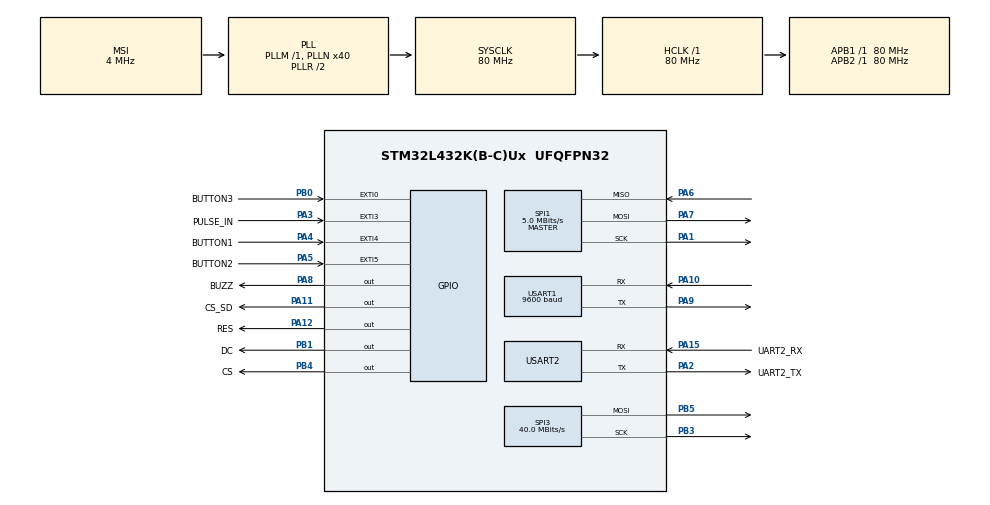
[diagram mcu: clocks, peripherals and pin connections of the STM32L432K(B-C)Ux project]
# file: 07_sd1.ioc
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FATFS._MAX_SS=4096
FATFS._USE_LFN=1
Mcu.Family=STM32L4
Mcu.Name=STM32L432K(B-C)Ux
Mcu.Package=UFQFPN32
NVIC.EXTI0_IRQn=true\:0\:0\:false\:false\:true\:true
NVIC.EXTI3_IRQn=true\:0\:0\:false\:false\:true\:true
NVIC.EXTI4_IRQn=true\:0\:0\:false\:false\:true\:true
NVIC.EXTI9_5_IRQn=true\:0\:0\:false\:false\:true\:true
NVIC.PriorityGroup=NVIC_PRIORITYGROUP_4
NVIC.TIM1_UP_TIM16_IRQn=true\:0\:0\:false\:false\:true\:true
NVIC.TIM6_DAC_IRQn=true\:0\:0\:false\:false\:true\:true
NVIC.TIM7_IRQn=true\:0\:0\:false\:false\:true\:true
NVIC.USART1_IRQn=true\:0\:0\:false\:false\:true\:true
NVIC.USART2_IRQn=true\:0\:0\:false\:false\:true\:true
PA0.GPIO_Label=MCO [High speed clock in]
PA0.Mode=HSE-External-Clock-Source-for-LittleOrca
PA0.Signal=RCC_CK_IN
PA1.Mode=Full_Duplex_Master
PA1.Signal=SPI1_SCK
PA10.Mode=Asynchronous
PA10.Signal=USART1_RX
PA11.GPIO_Label=CS_SD
PA11.GPIO_Speed=GPIO_SPEED_FREQ_HIGH
PA11.Signal=GPIO_Output
PA12.GPIO_Label=RES
PA12.Signal=GPIO_Output
PA13\ (JTMS-SWDIO).GPIO_Label=SWDIO
PA13\ (JTMS-SWDIO).Mode=Serial_Wire
PA13\ (JTMS-SWDIO).Signal=SYS_JTMS-SWDIO
PA14\ (JTCK-SWCLK).GPIO_Label=SWCLK
PA14\ (JTCK-SWCLK).Mode=Serial_Wire
PA14\ (JTCK-SWCLK).Signal=SYS_JTCK-SWCLK
PA15\ (JTDI).GPIO_Label=UART2_RX
PA15\ (JTDI).Mode=Asynchronous
PA15\ (JTDI).Signal=USART2_RX
PA2.GPIO_Label=UART2_TX
PA2.Mode=Asynchronous
PA2.Signal=USART2_TX
PA3.GPIO_Label=PULSE_IN
PA3.Signal=GPXTI3
PA4.GPIO_Label=BUTTON1
PA4.Signal=GPXTI4
PA5.GPIO_Label=BUTTON2
PA5.Signal=GPXTI5
PA6.GPIO_Mode=GPIO_MODE_AF_PP
PA6.Mode=Full_Duplex_Master
PA6.Signal=SPI1_MISO
PA7.Mode=Full_Duplex_Master
PA7.Signal=SPI1_MOSI
PA8.GPIO_Label=BUZZ
PA8.Signal=GPIO_Output
PA9.Mode=Asynchronous
PA9.Signal=USART1_TX
PB0.GPIO_Label=BUTTON3
PB0.Signal=GPXTI0
PB1.GPIO_Label=DC
PB1.Signal=GPIO_Output
PB3\ (JTDO-TRACESWO).Mode=TX_Only_Simplex_Unidirect_Master
PB3\ (JTDO-TRACESWO).Signal=SPI3_SCK
PB4\ (NJTRST).GPIO_Label=CS
PB4\ (NJTRST).Signal=GPIO_Output
PB5.Mode=TX_Only_Simplex_Unidirect_Master
PB5.Signal=SPI3_MOSI
PC14-OSC32_IN\ (PC14).Mode=LSE-External-Oscillator
PC14-OSC32_IN\ (PC14).Signal=RCC_OSC32_IN
PC15-OSC32_OUT\ (PC15).Mode=LSE-External-Oscillator
PC15-OSC32_OUT\ (PC15).Signal=RCC_OSC32_OUT
ProjectManager.HeapSize=0x200
ProjectManager.StackSize=0x400
ProjectManager.TargetToolchain=MDK-ARM V5
RCC.ADCFreq_Value=32000000
RCC.AHBFreq_Value=80000000
RCC.APB1Freq_Value=80000000
RCC.APB1TimFreq_Value=80000000
RCC.APB2Freq_Value=80000000
RCC.APB2TimFreq_Value=80000000
RCC.CortexFreq_Value=80000000
RCC.HCLKFreq_Value=80000000
RCC.HSE_VALUE=8000000
RCC.HSI16_VALUE=16000000
RCC.HSI48_VALUE=48000000
RCC.HSI_VALUE=16000000
RCC.MSI_VALUE=4000000
RCC.PLLMUL=RCC_PLLMUL_4
RCC.PLLN=40
RCC.PLLSAI1N=16
RCC.SYSCLKFreq_VALUE=80000000
RCC.SYSCLKSource=RCC_SYSCLKSOURCE_PLLCLK
RCC.USBFreq_Value=32000000
RCC.VCOOutputFreq_Value=160000000
SPI1.BaudRatePrescaler=SPI_BAUDRATEPRESCALER_16
SPI1.CalculateBaudRate=5.0 MBits/s
SPI1.DataSize=SPI_DATASIZE_8BIT
SPI1.Direction=SPI_DIRECTION_2LINES
SPI1.Mode=SPI_MODE_MASTER
SPI1.VirtualType=VM_MASTER
SPI3.CLKPhase=SPI_PHASE_2EDGE
SPI3.CLKPolarity=SPI_POLARITY_HIGH
SPI3.CalculateBaudRate=40.0 MBits/s
SPI3.DataSize=SPI_DATASIZE_8BIT
SPI3.Direction=SPI_DIRECTION_2LINES
SPI3.Mode=SPI_MODE_MASTER
SPI3.VirtualType=VM_MASTER
TIM16.Period=799
TIM16.Prescaler=999
TIM6.Period=959
TIM6.Prescaler=999
TIM7.Period=79
TIM7.Prescaler=999
USART1.BaudRate=9600
USART1.VirtualMode-Asynchronous=VM_ASYNC
USART2.VirtualMode-Asynchronous=VM_ASYNC
VP_FATFS_VS_Generic.Mode=User_defined
VP_TIM16_VS_ClockSourceINT.Mode=Enable_Timer
VP_TIM6_VS_ClockSourceINT.Mode=Enable_Timer
VP_TIM7_VS_ClockSourceINT.Mode=Enable_Timer
board=NUCLEO-L432KC

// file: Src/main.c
/**
  ******************************************************************************
  * @file           : main.c
  * @brief          : Main program body
  ******************************************************************************
  * This notice applies to any and all portions of this file
  * that are not between comment pairs USER CODE BEGIN and
  * USER CODE END. Other portions of this file, whether
  * inserted by the user or by software development tools
  * are owned by their respective copyright owners.
  *
  * Copyright (c) 2019 STMicroelectronics International N.V.
  * All rights reserved.
  *
  * Redistribution and use in source and binary forms, with or without
  * modification, are permitted, provided that the following conditions are met:
  *
  * 1. Redistribution of source code must retain the above copyright notice,
  *    this list of conditions and the following disclaimer.
  * 2. Redistributions in binary form must reproduce the above copyright notice,
  *    this list of conditions and the following disclaimer in the documentation
  *    and/or other materials provided with the distribution.
  * 3. Neither the name of STMicroelectronics nor the names of other
  *    contributors to this software may be used to endorse or promote products
  *    derived from this software without specific written permission.
  * 4. This software, including modifications and/or derivative works of this
  *    software, must execute solely and exclusively on microcontroller or
  *    microprocessor devices manufactured by or for STMicroelectronics.
  * 5. Redistribution and use of this software other than as permitted under
  *    this license is void and will automatically terminate your rights under
  *    this license.
  *
  * THIS SOFTWARE IS PROVIDED BY STMICROELECTRONICS AND CONTRIBUTORS "AS IS"
  * AND ANY EXPRESS, IMPLIED OR STATUTORY WARRANTIES, INCLUDING, BUT NOT
  * LIMITED TO, THE IMPLIED WARRANTIES OF MERCHANTABILITY, FITNESS FOR A
  * PARTICULAR PURPOSE AND NON-INFRINGEMENT OF THIRD PARTY INTELLECTUAL PROPERTY
  * RIGHTS ARE DISCLAIMED TO THE FULLEST EXTENT PERMITTED BY LAW. IN NO EVENT
  * SHALL STMICROELECTRONICS OR CONTRIBUTORS BE LIABLE FOR ANY DIRECT, INDIRECT,
  * INCIDENTAL, SPECIAL, EXEMPLARY, OR CONSEQUENTIAL DAMAGES (INCLUDING, BUT NOT
  * LIMITED TO, PROCUREMENT OF SUBSTITUTE GOODS OR SERVICES; LOSS OF USE, DATA,
  * OR PROFITS; OR BUSINESS INTERRUPTION) HOWEVER CAUSED AND ON ANY THEORY OF
  * LIABILITY, WHETHER IN CONTRACT, STRICT LIABILITY, OR TORT (INCLUDING
  * NEGLIGENCE OR OTHERWISE) ARISING IN ANY WAY OUT OF THE USE OF THIS SOFTWARE,
  * EVEN IF ADVISED OF THE POSSIBILITY OF SUCH DAMAGE.
  *
  ******************************************************************************
  */
#include "main.h"
#include "stm32l4xx_hal.h"
#include "fatfs.h"

/* USER CODE BEGIN Includes */
#include "sd.h"
#include "ff.h"
#include "gps.h"
#include "funkcje_wlasne.h"
#include "SSD1331.h"

/* USER CODE END Includes */

SPI_HandleTypeDef hspi1;
SPI_HandleTypeDef hspi3;

TIM_HandleTypeDef htim6;
TIM_HandleTypeDef htim7;
TIM_HandleTypeDef htim16;

UART_HandleTypeDef huart1;
UART_HandleTypeDef huart2;

/* USER CODE BEGIN PV */
/* Private variables ---------------------------------------------------------*/
volatile uint16_t Timer1=0;
uint8_t sect[512];
extern char str1[60];
uint32_t byteswritten,bytesread;
uint8_t result;
char USER_Path[4]; /* logical drive path */
FATFS SDFatFs;
FATFS *fs;
FIL MyFile;

uint16_t cnt_pulse = 0; // inkrementowany z kazdym przerwaniem od odbiornika pulsu
uint16_t licznik1 = 0; // do okreslenia przerwan do pulsu
uint16_t licznik2 = 0;
uint16_t aktualny_puls = 0;
uint16_t puls_poprzedni = 0;
uint8_t flaga_puls = 0;
uint8_t flaga_koniec_ekr_start = 0;
uint16_t puls_koncowy = 0;
uint16_t puls_stary = 0;
uint16_t puls_sredni_trip = 0;
uint16_t puls_max = 0;

uint16_t przebyty_dystans = 0; // w metrach
uint16_t predkosc_max = 0;

uint8_t przycisk1 = 0;
uint8_t przycisk2 = 0;
uint8_t przycisk3 = 0;
uint8_t flaga_konca = 0;
uint8_t flaga_zapisu = 0;
uint8_t flaga_temp = 0;

uint16_t czas_ms = 0;
uint16_t czas_s = 0;
uint16_t czas_min = 0;
uint16_t flaga_stoper = 0;

uint16_t ilosc_satelit = 0;

uint8_t liczba_jed = 0;
uint8_t liczba_dzies = 0;
uint8_t liczba_setek = 0;

uint16_t PomiarADC;
float Temperature;
float Vsense;

const float V25 = 0.76; // [Volts]
const float Avg_slope = 0.0025; //[Volts/degree]
const float SupplyVoltage = 3.0; // [Volts]
const float ADCResolution = 4096.0;

		FRESULT res; //????????? ??????????

//================== .TXT DO SD======================
char wtext[100]="sek:    \r\nmin:    \r\nodl:    \r\nmxv:    \r\npls:    \r\nplm:    \r\n";
//================== .TXT DO SD======================

//char buffer1[512] ="To jest tekst testowy sluzacy sprawdzeniu karty,.... sporzadzony na sluzbie";
/* USER CODE END PV */

void SystemClock_Config(void);
static void MX_GPIO_Init(void);
static void MX_USART2_UART_Init(void);
static void MX_SPI1_Init(void);
static void MX_TIM6_Init(void);
static void MX_USART1_UART_Init(void);
static void MX_TIM7_Init(void);
static void MX_TIM16_Init(void);
static void MX_SPI3_Init(void);

/* USER CODE BEGIN PFP */
/* Private function prototypes -----------------------------------------------*/
void HAL_GPIO_EXTI_Callback(uint16_t GPIO_Pin);  // PRZERWANIA ZEWNETRZNE
void HAL_TIM_PeriodElapsedCallback(TIM_HandleTypeDef *htim); // PRZERWANIA OD TIMerow

/* USER CODE END PFP */

/* USER CODE BEGIN 0 */
//===================== G P S ===================================#
			volatile struct gps_state gps_handle;  //PRZECHOWUJE BUFORY, LICZNIKI ZNAKOW + AKTUALNE DANE Z GPS
			volatile uint8_t recv_char;

			void HAL_UART_RxCpltCallback(UART_HandleTypeDef * uart) { // FUNKCJA OBSLUGI PRZERWANIA OD UART - GPS
				if (uart == &huart1) {
					gps_recv_char(&gps_handle, recv_char);           // ZAPIS KOLEJNYCH ZNAKOW DO BUFORA BIBLIOTEKI GPS
																													 // OD "$" DO "\n" LUB "\r", INKREMENTUJE writer_position
					HAL_UART_Receive_IT(&huart1, &recv_char, 1);
					}
				}
//===================== G P S ===================================#
/* USER CODE END 0 */

int main(void)
{

  /* MCU Configuration----------------------------------------------------------*/

  /* Reset of all peripherals, Initializes the Flash interface and the Systick. */
  HAL_Init();

  /* Configure the system clock */
  SystemClock_Config();

  /* Initialize all configured peripherals */
  MX_GPIO_Init();
  MX_USART2_UART_Init();
  MX_FATFS_Init();
  MX_SPI1_Init();
  MX_TIM6_Init();
  MX_USART1_UART_Init();
  MX_TIM7_Init();
  MX_TIM16_Init();
  MX_SPI3_Init();
  /* USER CODE BEGIN 2 */
HAL_TIM_Base_Start_IT(&htim6);
HAL_TIM_Base_Start_IT(&htim16);
HAL_TIM_Base_Start_IT(&htim7);

ssd1331_init();

				disk_initialize(SDFatFs.drv);

									if(f_mount(&SDFatFs,(TCHAR const*)USER_Path,0)!=FR_OK)
									{
										Error_Handler();
										flaga_temp = 1;
									}
									else
									{
										flaga_temp = 3;

//===================== G P S ===================================#
			gps_handle = gps_init(&huart1);
			HAL_UART_Receive_IT(&huart1, &recv_char, 1); //  WYWOLANIE PRZERWANIA OD UART - GPS,
																									//po 1 znaku przekazujemy do recv_char
			char output_buffer[100];
			for (uint8_t i = 0; i < 100; i++)
				output_buffer[i] = '\0';
//===================== G P S ===================================#

oled_start(&flaga_koniec_ekr_start);
oled_ekr_glowny(czas_s, czas_min, puls_koncowy, ilosc_satelit);
  /* USER CODE END 2 */

  /* Infinite loop */
  while (1)
  {

  }

}

void SystemClock_Config(void)
{

  RCC_OscInitTypeDef RCC_OscInitStruct;
  RCC_ClkInitTypeDef RCC_ClkInitStruct;
  RCC_PeriphCLKInitTypeDef PeriphClkInit;

    /**Configure LSE Drive Capability
    */
  HAL_PWR_EnableBkUpAccess();

  __HAL_RCC_LSEDRIVE_CONFIG(RCC_LSEDRIVE_LOW);

    /**Initializes the CPU, AHB and APB busses clocks
    */
  RCC_OscInitStruct.OscillatorType = RCC_OSCILLATORTYPE_LSE|RCC_OSCILLATORTYPE_MSI;
  RCC_OscInitStruct.LSEState = RCC_LSE_ON;
  RCC_OscInitStruct.MSIState = RCC_MSI_ON;
  RCC_OscInitStruct.MSICalibrationValue = 0;
  RCC_OscInitStruct.MSIClockRange = RCC_MSIRANGE_6;
  RCC_OscInitStruct.PLL.PLLState = RCC_PLL_ON;
  RCC_OscInitStruct.PLL.PLLSource = RCC_PLLSOURCE_MSI;
  RCC_OscInitStruct.PLL.PLLM = 1;
  RCC_OscInitStruct.PLL.PLLN = 40;
  RCC_OscInitStruct.PLL.PLLP = RCC_PLLP_DIV7;
  RCC_OscInitStruct.PLL.PLLQ = RCC_PLLQ_DIV2;
  RCC_OscInitStruct.PLL.PLLR = RCC_PLLR_DIV2;
  if (HAL_RCC_OscConfig(&RCC_OscInitStruct) != HAL_OK)
  {
    _Error_Handler(__FILE__, __LINE__);
  }

    /**Initializes the CPU, AHB and APB busses clocks
    */
  RCC_ClkInitStruct.ClockType = RCC_CLOCKTYPE_HCLK|RCC_CLOCKTYPE_SYSCLK
                              |RCC_CLOCKTYPE_PCLK1|RCC_CLOCKTYPE_PCLK2;
  RCC_ClkInitStruct.SYSCLKSource = RCC_SYSCLKSOURCE_PLLCLK;
  RCC_ClkInitStruct.AHBCLKDivider = RCC_SYSCLK_DIV1;
  RCC_ClkInitStruct.APB1CLKDivider = RCC_HCLK_DIV1;
  RCC_ClkInitStruct.APB2CLKDivider = RCC_HCLK_DIV1;

  if (HAL_RCC_ClockConfig(&RCC_ClkInitStruct, FLASH_LATENCY_4) != HAL_OK)
  {
    _Error_Handler(__FILE__, __LINE__);
  }

  PeriphClkInit.PeriphClockSelection = RCC_PERIPHCLK_USART1|RCC_PERIPHCLK_USART2;
  PeriphClkInit.Usart1ClockSelection = RCC_USART1CLKSOURCE_PCLK2;
  PeriphClkInit.Usart2ClockSelection = RCC_USART2CLKSOURCE_PCLK1;
  if (HAL_RCCEx_PeriphCLKConfig(&PeriphClkInit) != HAL_OK)
  {
    _Error_Handler(__FILE__, __LINE__);
  }

    /**Configure the main internal regulator output voltage
    */
  if (HAL_PWREx_ControlVoltageScaling(PWR_REGULATOR_VOLTAGE_SCALE1) != HAL_OK)
  {
    _Error_Handler(__FILE__, __LINE__);
  }

    /**Configure the Systick interrupt time
    */
  HAL_SYSTICK_Config(HAL_RCC_GetHCLKFreq()/1000);

    /**Configure the Systick
    */
  HAL_SYSTICK_CLKSourceConfig(SYSTICK_CLKSOURCE_HCLK);

    /**Enable MSI Auto calibration
    */
  HAL_RCCEx_EnableMSIPLLMode();

  /* SysTick_IRQn interrupt configuration */
  HAL_NVIC_SetPriority(SysTick_IRQn, 0, 0);
}

/* SPI1 init function */
static void MX_SPI1_Init(void)
{

  /* SPI1 parameter configuration*/
  hspi1.Instance = SPI1;
  hspi1.Init.Mode = SPI_MODE_MASTER;
  hspi1.Init.Direction = SPI_DIRECTION_2LINES;
  hspi1.Init.DataSize = SPI_DATASIZE_8BIT;
  hspi1.Init.CLKPolarity = SPI_POLARITY_LOW;
  hspi1.Init.CLKPhase = SPI_PHASE_1EDGE;
  hspi1.Init.NSS = SPI_NSS_SOFT;
  hspi1.Init.BaudRatePrescaler = SPI_BAUDRATEPRESCALER_16;
  hspi1.Init.FirstBit = SPI_FIRSTBIT_MSB;
  hspi1.Init.TIMode = SPI_TIMODE_DISABLE;
  hspi1.Init.CRCCalculation = SPI_CRCCALCULATION_DISABLE;
  hspi1.Init.CRCPolynomial = 7;
  hspi1.Init.CRCLength = SPI_CRC_LENGTH_DATASIZE;
  hspi1.Init.NSSPMode = SPI_NSS_PULSE_ENABLE;
  if (HAL_SPI_Init(&hspi1) != HAL_OK)
  {
    _Error_Handler(__FILE__, __LINE__);
  }

}

/* SPI3 init function */
static void MX_SPI3_Init(void)
{

  /* SPI3 parameter configuration*/
  hspi3.Instance = SPI3;
  hspi3.Init.Mode = SPI_MODE_MASTER;
  hspi3.Init.Direction = SPI_DIRECTION_2LINES;
  hspi3.Init.DataSize = SPI_DATASIZE_8BIT;
  hspi3.Init.CLKPolarity = SPI_POLARITY_HIGH;
  hspi3.Init.CLKPhase = SPI_PHASE_2EDGE;
  hspi3.Init.NSS = SPI_NSS_SOFT;
  hspi3.Init.BaudRatePrescaler = SPI_BAUDRATEPRESCALER_2;
  hspi3.Init.FirstBit = SPI_FIRSTBIT_MSB;
  hspi3.Init.TIMode = SPI_TIMODE_DISABLE;
  hspi3.Init.CRCCalculation = SPI_CRCCALCULATION_DISABLE;
  hspi3.Init.CRCPolynomial = 7;
  hspi3.Init.CRCLength = SPI_CRC_LENGTH_DATASIZE;
  hspi3.Init.NSSPMode = SPI_NSS_PULSE_DISABLE;
  if (HAL_SPI_Init(&hspi3) != HAL_OK)
  {
    _Error_Handler(__FILE__, __LINE__);
  }

}

/* TIM6 init function */
static void MX_TIM6_Init(void)
{

  TIM_MasterConfigTypeDef sMasterConfig;

  htim6.Instance = TIM6;
  htim6.Init.Prescaler = 999;
  htim6.Init.CounterMode = TIM_COUNTERMODE_UP;
  htim6.Init.Period = 959;
  htim6.Init.AutoReloadPreload = TIM_AUTORELOAD_PRELOAD_DISABLE;
  if (HAL_TIM_Base_Init(&htim6) != HAL_OK)
  {
    _Error_Handler(__FILE__, __LINE__);
  }

  sMasterConfig.MasterOutputTrigger = TIM_TRGO_RESET;
  sMasterConfig.MasterSlaveMode = TIM_MASTERSLAVEMODE_DISABLE;
  if (HAL_TIMEx_MasterConfigSynchronization(&htim6, &sMasterConfig) != HAL_OK)
  {
    _Error_Handler(__FILE__, __LINE__);
  }

}

/* TIM7 init function */
static void MX_TIM7_Init(void)
{

  TIM_MasterConfigTypeDef sMasterConfig;

  htim7.Instance = TIM7;
  htim7.Init.Prescaler = 999;
  htim7.Init.CounterMode = TIM_COUNTERMODE_UP;
  htim7.Init.Period = 79;
  htim7.Init.AutoReloadPreload = TIM_AUTORELOAD_PRELOAD_DISABLE;
  if (HAL_TIM_Base_Init(&htim7) != HAL_OK)
  {
    _Error_Handler(__FILE__, __LINE__);
  }

  sMasterConfig.MasterOutputTrigger = TIM_TRGO_RESET;
  sMasterConfig.MasterSlaveMode = TIM_MASTERSLAVEMODE_DISABLE;
  if (HAL_TIMEx_MasterConfigSynchronization(&htim7, &sMasterConfig) != HAL_OK)
  {
    _Error_Handler(__FILE__, __LINE__);
  }

}

/* TIM16 init function */
static void MX_TIM16_Init(void)
{

  htim16.Instance = TIM16;
  htim16.Init.Prescaler = 999;
  htim16.Init.CounterMode = TIM_COUNTERMODE_UP;
  htim16.Init.Period = 799;
  htim16.Init.ClockDivision = TIM_CLOCKDIVISION_DIV1;
  htim16.Init.RepetitionCounter = 0;
  htim16.Init.AutoReloadPreload = TIM_AUTORELOAD_PRELOAD_DISABLE;
  if (HAL_TIM_Base_Init(&htim16) != HAL_OK)
  {
    _Error_Handler(__FILE__, __LINE__);
  }

}

/* USART1 init function */
static void MX_USART1_UART_Init(void)
{

  huart1.Instance = USART1;
  huart1.Init.BaudRate = 9600;
  huart1.Init.WordLength = UART_WORDLENGTH_8B;
  huart1.Init.StopBits = UART_STOPBITS_1;
  huart1.Init.Parity = UART_PARITY_NONE;
  huart1.Init.Mode = UART_MODE_TX_RX;
  huart1.Init.HwFlowCtl = UART_HWCONTROL_NONE;
  huart1.Init.OverSampling = UART_OVERSAMPLING_16;
  huart1.Init.OneBitSampling = UART_ONE_BIT_SAMPLE_DISABLE;
  huart1.AdvancedInit.AdvFeatureInit = UART_ADVFEATURE_NO_INIT;
  if (HAL_UART_Init(&huart1) != HAL_OK)
  {
    _Error_Handler(__FILE__, __LINE__);
  }

}

/* USART2 init function */
static void MX_USART2_UART_Init(void)
{

  huart2.Instance = USART2;
  huart2.Init.BaudRate = 115200;
  huart2.Init.WordLength = UART_WORDLENGTH_8B;
  huart2.Init.StopBits = UART_STOPBITS_1;
  huart2.Init.Parity = UART_PARITY_NONE;
  huart2.Init.Mode = UART_MODE_TX_RX;
  huart2.Init.HwFlowCtl = UART_HWCONTROL_NONE;
  huart2.Init.OverSampling = UART_OVERSAMPLING_16;
  huart2.Init.OneBitSampling = UART_ONE_BIT_SAMPLE_DISABLE;
  huart2.AdvancedInit.AdvFeatureInit = UART_ADVFEATURE_NO_INIT;
  if (HAL_UART_Init(&huart2) != HAL_OK)
  {
    _Error_Handler(__FILE__, __LINE__);
  }

}

/** Configure pins as
        * Analog
        * Input
        * Output
        * EVENT_OUT
        * EXTI
*/
static void MX_GPIO_Init(void)
{

  GPIO_InitTypeDef GPIO_InitStruct;

  /* GPIO Ports Clock Enable */
  __HAL_RCC_GPIOC_CLK_ENABLE();
  __HAL_RCC_GPIOA_CLK_ENABLE();
  __HAL_RCC_GPIOB_CLK_ENABLE();

  /*Configure GPIO pin Output Level */
  HAL_GPIO_WritePin(GPIOB, DC_Pin|CS_Pin, GPIO_PIN_RESET);

  /*Configure GPIO pin Output Level */
  HAL_GPIO_WritePin(GPIOA, BUZZ_Pin|CS_SD_Pin|RES_Pin, GPIO_PIN_RESET);

  /*Configure GPIO pins : PULSE_IN_Pin BUTTON1_Pin BUTTON2_Pin */
  GPIO_InitStruct.Pin = PULSE_IN_Pin|BUTTON1_Pin|BUTTON2_Pin;
  GPIO_InitStruct.Mode = GPIO_MODE_IT_RISING;
  GPIO_InitStruct.Pull = GPIO_NOPULL;
  HAL_GPIO_Init(GPIOA, &GPIO_InitStruct);

  /*Configure GPIO pin : BUTTON3_Pin */
  GPIO_InitStruct.Pin = BUTTON3_Pin;
  GPIO_InitStruct.Mode = GPIO_MODE_IT_RISING;
  GPIO_InitStruct.Pull = GPIO_NOPULL;
  HAL_GPIO_Init(BUTTON3_GPIO_Port, &GPIO_InitStruct);

  /*Configure GPIO pins : DC_Pin CS_Pin */
  GPIO_InitStruct.Pin = DC_Pin|CS_Pin;
  GPIO_InitStruct.Mode = GPIO_MODE_OUTPUT_PP;
  GPIO_InitStruct.Pull = GPIO_NOPULL;
  GPIO_InitStruct.Speed = GPIO_SPEED_FREQ_LOW;
  HAL_GPIO_Init(GPIOB, &GPIO_InitStruct);

  /*Configure GPIO pins : BUZZ_Pin RES_Pin */
  GPIO_InitStruct.Pin = BUZZ_Pin|RES_Pin;
  GPIO_InitStruct.Mode = GPIO_MODE_OUTPUT_PP;
  GPIO_InitStruct.Pull = GPIO_NOPULL;
  GPIO_InitStruct.Speed = GPIO_SPEED_FREQ_LOW;
  HAL_GPIO_Init(GPIOA, &GPIO_InitStruct);

  /*Configure GPIO pin : CS_SD_Pin */
  GPIO_InitStruct.Pin = CS_SD_Pin;
  GPIO_InitStruct.Mode = GPIO_MODE_OUTPUT_PP;
  GPIO_InitStruct.Pull = GPIO_NOPULL;
  GPIO_InitStruct.Speed = GPIO_SPEED_FREQ_HIGH;
  HAL_GPIO_Init(CS_SD_GPIO_Port, &GPIO_InitStruct);

  /* EXTI interrupt init*/
  HAL_NVIC_SetPriority(EXTI0_IRQn, 0, 0);
  HAL_NVIC_EnableIRQ(EXTI0_IRQn);

  HAL_NVIC_SetPriority(EXTI3_IRQn, 0, 0);
  HAL_NVIC_EnableIRQ(EXTI3_IRQn);

  HAL_NVIC_SetPriority(EXTI4_IRQn, 0, 0);
  HAL_NVIC_EnableIRQ(EXTI4_IRQn);

  HAL_NVIC_SetPriority(EXTI9_5_IRQn, 0, 0);
  HAL_NVIC_EnableIRQ(EXTI9_5_IRQn);

}

/* USER CODE BEGIN 4 */
void HAL_GPIO_EXTI_Callback(uint16_t GPIO_Pin)           // Funkcja obslugujaca
	{                                                    // przerwania zewnetrzne

		if(GPIO_Pin == PULSE_IN_Pin)                     //Jesli przerwanie pochodzi
			{                                                    //od odbiornika pulsu

					aktualny_puls = licz_puls(licznik1);        //obliczenie akt. pulsu za
																							       //pomoca funkcji licz_puls()
					licznik1 =0;	      //zerowanie licznika odpowiedzialnego za zliczanie
												                           //czasu pomiedzy przerwaniami
					if ( flaga_puls == 0)                          // pierwszy obieg petli
						{
							puls_poprzedni = aktualny_puls;                // el. jeden wstecz
							puls_stary = aktualny_puls;                      // el. dwa wstecz
							puls_koncowy = aktualny_puls + 1;
							flaga_puls = 1;                    // flaga pierwszego obiegu petli
						}
					else                          // jesli nie jest to pierwszy obieg petli
						{
							puls_koncowy = ((3*aktualny_puls + 2*puls_poprzedni+ puls_stary)/6);
												     			// srednia wazona do obliczania pulsu koncowego
							puls_stary = puls_poprzedni;          //uzupelnienie listy wiazanej
							puls_poprzedni = aktualny_puls;       //uzupelnienie listy wiazanej

						}
						// obsluga wyswietlacza - wyswietlanie aktualnego pulsu
						if(flaga_koniec_ekr_start == 1) oled_akt_puls(puls_koncowy);
			}

//===================== PRZYCISKI ==============================#
			else if(GPIO_Pin == BUTTON1_Pin) // " X "
				{
					przycisk1 =! przycisk1;
					flaga_konca++;
					flaga_stoper = 100;

					if(flaga_konca <2) oled_header(3);

					//%%%%% trzeba dodac reset drogi przebytej - najlepiej funkcja inicjalizujaca zerami czy cos

					//oled_czas(0,0);
				}
			else if(GPIO_Pin == BUTTON2_Pin) // " > "
				{
					if(flaga_temp >=3)
					{
					przycisk2 =! przycisk2;
					flaga_stoper = 1;
					flaga_konca = 0;
								if(flaga_zapisu >= 1)
								{
										// TUTAJ WKLEIC FUNKCJE ZAPISU!!!
										flaga_zapisu = 100;
//									extern	FRESULT res; //????????? ??????????
//								extern		uint8_t wtext[50];
//------------------------------- ZAPIS NA SD --------------------------------------------------------------------
//															disk_initialize(SDFatFs.drv);
//
//									if(f_mount(&SDFatFs,(TCHAR const*)USER_Path,0)!=FR_OK)
//									{
//										Error_Handler();
//									}
//									else
//									{
									// PRZYGOTOWYWANIE DANYCH DO ZAPISU NA KARTE
											konwert_liczb(czas_s, &liczba_jed, &liczba_dzies, &liczba_setek); //SEKUNDY
							 				wtext[5] = liczba_dzies;
											wtext[6] = liczba_jed;
											konwert_liczb(czas_min, &liczba_jed, &liczba_dzies, &liczba_setek); //MINUTY
											wtext[15] = liczba_dzies;
											wtext[16] = liczba_jed;
											konwert_liczb(przebyty_dystans, &liczba_jed, &liczba_dzies, &liczba_setek);	//ODLEGLOSC W m
											wtext[25] = liczba_setek;
											wtext[26] = liczba_dzies;
											wtext[27] = liczba_jed;
											konwert_liczb(predkosc_max, &liczba_jed, &liczba_dzies, &liczba_setek);	 // SREDNIA PREDKOSC
											wtext[35] = liczba_setek;
											wtext[36] = liczba_dzies;
											wtext[37] = liczba_jed;
											konwert_liczb(predkosc_max, &liczba_jed, &liczba_dzies, &liczba_setek);	// PREDKOSC MAX
											wtext[45] = liczba_setek;
											wtext[46] = liczba_dzies;
											wtext[47] = liczba_jed;
											konwert_liczb(puls_sredni_trip, &liczba_jed, &liczba_dzies, &liczba_setek);	//PULS SREDNI ZA TRENING
											wtext[55] = liczba_setek;
											wtext[56] = liczba_dzies;
											wtext[57] = liczba_jed;
											konwert_liczb(puls_max, &liczba_jed, &liczba_dzies, &liczba_setek);	//PULS MAX ZA TRENING
											wtext[65] = liczba_setek;
											wtext[66] = liczba_dzies;
											wtext[67] = liczba_jed;

//										//Przeniesc to na dole w funkcje, ktora bedzie w for np i w zaleznosci od arg nazywala plik.txt, np 10 treningow mozna zapisac.
										if(f_open(&MyFile,"tr33.txt",FA_CREATE_ALWAYS|FA_WRITE)!=FR_OK)
										{
											flaga_zapisu = 101;
											Error_Handler();

										}
										else
										{
											res=f_write(&MyFile,wtext,sizeof(wtext),(void*)&byteswritten);
											if((byteswritten==0)||(res!=FR_OK))
											{
												Error_Handler();
												flaga_zapisu = 102;
											}
											f_close(&MyFile);
											flaga_zapisu = 103;
										}
//									}
//------------------------------- ZAPIS NA SD --------------------------------------------------------------------
									oled_end(flaga_stoper);
										while(1);
								}
					oled_header(2);

									}
									else flaga_temp++;
									}
			else if(GPIO_Pin == BUTTON3_Pin) // " || "
				{
					przycisk3 =! przycisk3;
					flaga_stoper = 0;
					flaga_konca = 0;
								if(flaga_zapisu >= 1)
								{
									oled_end(flaga_stoper);
										flaga_zapisu = 200;
										while(1);
								}
					oled_header(1);
				}
//===================== PRZYCISKI ==============================#
}
//---------------------------------------------------------------------------------------------------------
//===================== TIMERY =================================#
void HAL_TIM_PeriodElapsedCallback(TIM_HandleTypeDef *htim)
{
//-------------------- TIM6 -------------------------------------
	if(htim == &htim6)
	{
		Timer1++;
	}
//-------------------- TIM16 -------------------------------------
	if(htim->Instance == TIM16){ // Jezeli przerwanie pochodzi od timera 16 - 100Hz

				licznik1++; // inkrementowany z f=100Hz, tzn liczik1 = 1 = 10[ms]
				if(licznik1 >= 500) licznik1 =0; // Na wypadek niepodlaczenia pulsometru

				licznik2++;
				if((licznik2 >= 100) && (flaga_koniec_ekr_start == 1)) //PRZERWANIE CO 1S
				{
					ilosc_satelit = gps_handle.satelites_number;
					oled_akt_il_sat(ilosc_satelit);
					licznik2 = 0;
				}
		 }
//-------------------- TIM6 -------------------------------------
	if(htim->Instance == TIM7) // Jezeli przerwanie pochodzi od timera 7 -1000Hz = 1kHz
		 {
			 if(flaga_stoper == 1)
			 {
			 czas_ms++;
			 if(czas_ms >= 1000 && (flaga_koniec_ekr_start == 1))  // CO 1 S
			 {
				 czas_s++;
				 czas_ms = 0;
				 //  CO 5s OBLICZA SREDNI PULS ZA ODCINEK, JESLI JEST "START"
				 if( (czas_s != 0) && ((czas_s%5) == 0)) puls_sredni_trip = licz_sr_puls(puls_koncowy, &puls_max);
				 // CO 5s OBLICZA PRZEBYTA DROGE
				 if( (czas_s != 0) && ((czas_s%5) == 0)) przebyty_dystans += licz_odleglosc(gps_handle.speed_kilometers, &predkosc_max);

				 if((czas_s > 0) || (czas_min > 0)) oled_czas(czas_s, czas_min); // AKTUALIZACJA STOPERA

				 if(czas_s == 60) // CO 1 MIN
				 {
					 czas_min++;
					 czas_s = 0;
					 oled_czas(czas_s, czas_min);
				 }
			 }

		 }
			if((flaga_stoper == 100) && (flaga_konca >= 2)&&(flaga_konca <= 5))  // "X" - reset
			{

				flaga_koniec_ekr_start = 0;
				oled_koniec(przebyty_dystans, czas_min, czas_s, puls_sredni_trip); // EKRAN KONCOWY - PODSUMOWUJACY
//				oled_end(flaga_stoper);
//				czas_min = 0;
//				czas_s = 0;
//				czas_ms = 0;

				//oled_czas(czas_s, czas_min);  //oled_czas(0,0)
//				licz_sr_puls(777, &puls_max); // RESET SUMY SREDNIEGO PULSU I LICZNIKA SR PULSU
				flaga_stoper++;
				//flaga_konca = 0;
				flaga_zapisu = 1;

			}
//			if((flaga_konca == 2) && (flaga_stoper < 5))
//			{
//				//oled_start(&flaga_koniec_ekr_start);
//				flaga_konca = 0;
//				ssd1331_clear_screen(BLACK);
//			}
	 }

}

//=============================== ADC =====================================

//=============================== ADC =====================================
/* USER CODE END 4 */

void _Error_Handler(char *file, int line)
{
  while(1)
  {
  }
}

/************************ (C) COPYRIGHT STMicroelectronics *****END OF FILE****/
